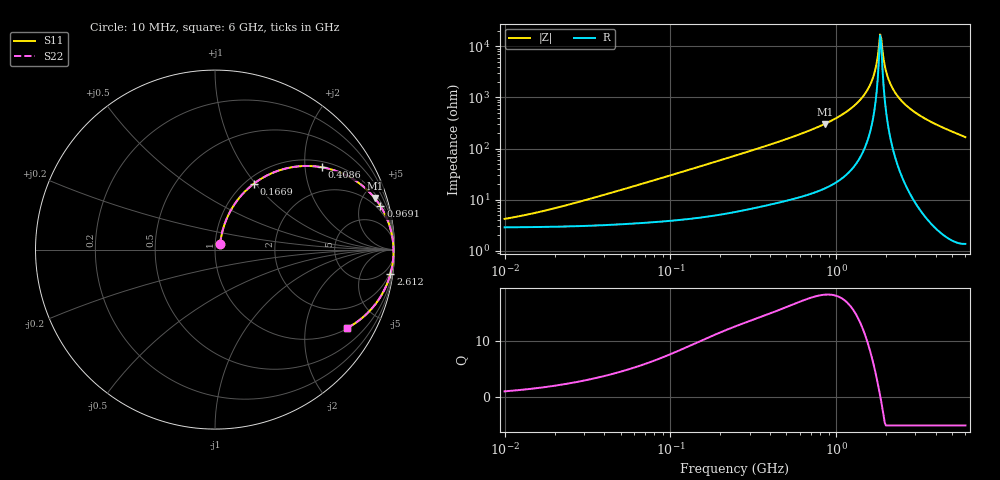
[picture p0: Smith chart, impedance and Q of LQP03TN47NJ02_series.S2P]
!Murata Part Number: LQP03TN47NJ02
!These Parameters are Measured in Series Mode Connection
!  o--[+]--o
!Port1  Port2
!  o-------o
!Freq. Start=10[MHz] Stop=6[GHz], 401[Steps]
# Hz S RI R 50
!Freq.(Hz)	S 11(Real)	S 11(Imag)	S 21(Real)	S 21(Imag)	S 12(Real)	S 12(Imag)	S 22(Real)	S 22(Imag)
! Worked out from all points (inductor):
!   401 points, 10 MHz to 6 GHz, reference 50 ohm
!   read as one part in series: L = 48.2 nH near 30.63 MHz
!   highest Q = 18.3 at 852.7 MHz (marker M1), where L = 56.6 nH
!   self-resonance near 1.837 GHz
!   S11 on the Smith chart (normalised r, x): 10 MHz: 1.06, +0.06; 166.9 MHz: 1.09, +0.98; 408.6 MHz: 1.16, +2.45; 969.1 MHz: 1.41, +7.47; 2.612 GHz: 1, -14; 6 GHz: 1.03, -3.35
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1e7  0.0288 0.0291  0.9712 -0.0291  0.9712 -0.0291  0.0288 0.0291
2.919714e7  0.0368 0.083  0.9632 -0.083  0.9632 -0.083  0.0368 0.083
8.524731e7  0.0901 0.2226  0.9099 -0.2226  0.9099 -0.2226  0.0901 0.2226
1.668732e8  0.2177 0.3681  0.7823 -0.3681  0.7823 -0.3681  0.2177 0.3681
2.44949e8  0.3555 0.4407  0.6445 -0.4407  0.6445 -0.4407  0.3555 0.4407
4.086276e8  0.5957 0.4587  0.4043 -0.4587  0.4043 -0.4587  0.5957 0.4587
7.15181e8  0.8352 0.344  0.1648 -0.344  0.1648 -0.344  0.8352 0.344
8.52737e8  0.8897 0.2871  0.1103 -0.2871  0.1103 -0.2871  0.8897 0.2871
9.691213e8  0.9218 0.2424  0.0782 -0.2424  0.0782 -0.2424  0.9218 0.2424
1.27189e9  0.9697 0.1422  0.0303 -0.1422  0.0303 -0.1422  0.9697 0.1422
1.516522e9  0.9869 0.0754  0.0131 -0.0754  0.0131 -0.0754  0.9869 0.0754
1.669249e9  0.9921 0.0386  0.00786 -0.0386  0.00786 -0.0386  0.9921 0.0386
1.723502e9  0.9932 0.0263  0.00678 -0.0263  0.00678 -0.0263  0.9932 0.0263
1.808206e9  0.9942 0.00784  0.00576 -0.00784  0.00576 -0.00784  0.9942 0.00784
1.837356e9  0.9944 0.00167  0.00559 -0.00167  0.00559 -0.00167  0.9944 0.00167
1.897073e9  0.9945 -0.0107  0.00547 0.0107  0.00547 0.0107  0.9945 -0.0107
1.990307e9  0.9941 -0.0293  0.0059 0.0293  0.0059 0.0293  0.9941 -0.0293
2.088124e9  0.9929 -0.0479  0.00706 0.0479  0.00706 0.0479  0.9929 -0.0479
2.298416e9  0.9884 -0.0853  0.0116 0.0853  0.0116 0.0853  0.9884 -0.0853
2.612111e9  0.9775 -0.1353  0.0225 0.1353  0.0225 0.1353  0.9775 -0.1353
3.654639e9  0.9196 -0.2667  0.0804 0.2667  0.0804 0.2667  0.9196 -0.2667
6e9  0.7355 -0.437  0.2645 0.437  0.2645 0.437  0.7355 -0.437
